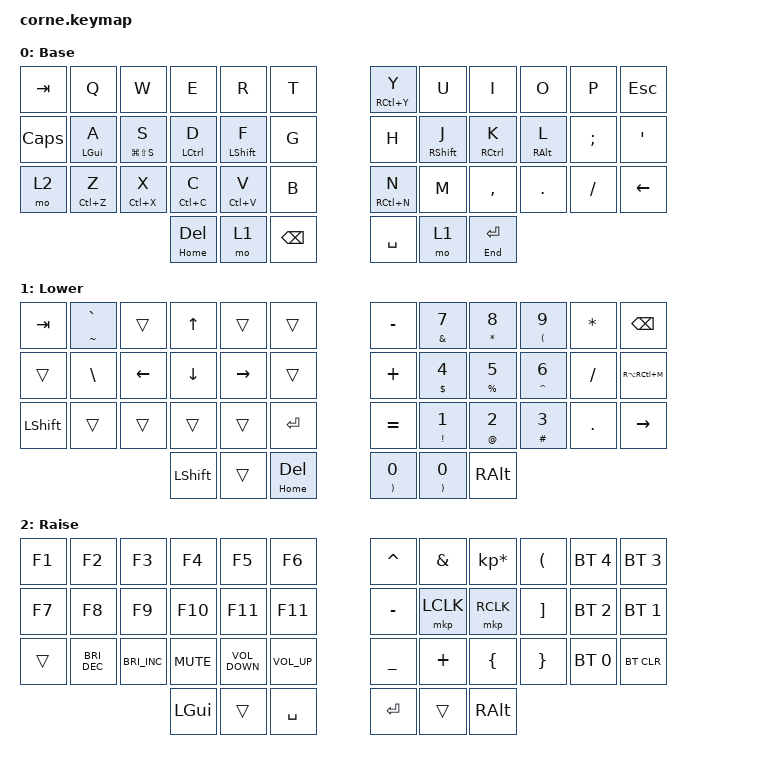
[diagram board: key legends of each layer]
/*
 * Copyright (c) 2020 The ZMK Contributors
 *
 * SPDX-License-Identifier: MIT
 */

#include <behaviors.dtsi>
#include <dt-bindings/zmk/bt.h>
#include <dt-bindings/zmk/keys.h>
#include <dt-bindings/zmk/pointing.h>

/ {
    behaviors {
        HR_Mod: HR_Mod {
            compatible = "zmk,behavior-hold-tap";
            label = "HR_MOD";
            bindings = <&kp>, <&kp>;

            #binding-cells = <2>;
            tapping-term-ms = <280>;
            quick-tap-ms = <175>;
            flavor = "tap-preferred";
            require-prior-idle-ms = <175>;
        };

        TD0: TD0 {
            compatible = "zmk,behavior-tap-dance";
            label = "TD0";
            #binding-cells = <0>;
            bindings = <&mkp RCLK>;
        };
    };

    keymap {
        compatible = "zmk,keymap";

        default_layer {
            // -----------------------------------------------------------------------------------------
            // |  TAB |  Q  |  W  |  E  |  R  |  T  |   |  Y  |  U   |  I  |  O  |  P  | BKSP |
            // | CTRL |  A  |  S  |  D  |  F  |  G  |   |  H  |  J   |  K  |  L  |  ;  |  '   |
            // | SHFT |  Z  |  X  |  C  |  V  |  B  |   |  N  |  M   |  ,  |  .  |  /  | ESC  |
            //                    | GUI | LWR | SPC |   | ENT | RSE  | ALT |

            display-name = "Base";
            bindings = <
&kp TAB   &kp Q               &kp W                &kp E                   &kp R                 &kp T            &HR_Mod RC(Y) Y  &kp U                  &kp I                    &kp O                &kp P     &kp ESCAPE
&kp CAPS  &HR_Mod LEFT_GUI A  &HR_Mod LG(LS(S)) S  &HR_Mod LEFT_CONTROL D  &HR_Mod LEFT_SHIFT F  &kp G            &kp H            &HR_Mod RIGHT_SHIFT J  &HR_Mod RIGHT_CONTROL K  &HR_Mod RIGHT_ALT L  &kp SEMI  &kp APOS
&mo 2     &HR_Mod LC(Z) Z     &HR_Mod LC(X) X      &HR_Mod LC(C) C         &HR_Mod LC(V) V       &kp B            &HR_Mod RC(N) N  &kp M                  &kp COMMA                &kp DOT              &kp FSLH  &kp LEFT_ARROW
                                                   &HR_Mod HOME DELETE     &mo 1                 &kp BACKSPACE    &kp SPACE        &mo 1                  &HR_Mod END ENTER
            >;
        };

        lower_layer {
            // -----------------------------------------------------------------------------------------
            // |  TAB |  1  |  2  |  3  |  4  |  5  |   |  6  |  7  |  8  |  9  |  0  | BKSP |
            // | BTCLR| BT1 | BT2 | BT3 | BT4 | BT5 |   | LFT | DWN |  UP | RGT |     |      |
            // | SHFT |     |     |     |     |     |   |     |     |     |     |     |      |
            //                    | GUI |     | SPC |   | ENT |     | ALT |

            display-name = "Lower";
            bindings = <
&kp TAB    &HR_Mod TILDE GRAVE  &trans    &kp UP_ARROW    &trans     &trans                 &kp MINUS                     &HR_Mod AMPERSAND N7   &HR_Mod STAR N8      &HR_Mod LPAR N9         &kp STAR    &kp BSPC
&trans     &kp BACKSLASH        &kp LEFT  &kp DOWN        &kp RIGHT  &trans                 &kp PLUS                      &HR_Mod DLLR NUMBER_4  &HR_Mod PRCNT N5     &HR_Mod CARET NUMBER_6  &kp SLASH   &kp RA(RC(M))
&kp LSHFT  &trans               &trans    &trans          &trans     &kp ENTER              &kp EQUAL                     &HR_Mod EXCL NUMBER_1  &HR_Mod AT NUMBER_2  &HR_Mod HASH NUMBER_3   &kp PERIOD  &kp RIGHT_ARROW
                                          &kp LEFT_SHIFT  &trans     &HR_Mod HOME DELETE    &HR_Mod RIGHT_PARENTHESIS N0  &HR_Mod RPAR N0        &kp RALT
            >;
        };

        raise_layer {
            // -----------------------------------------------------------------------------------------
            // |  TAB |  !  |  @  |  #  |  $  |  %  |   |  ^  |  &  |  *  |  (  |  )  | BKSP |
            // | CTRL |     |     |     |     |     |   |  -  |  =  |  [  |  ]  |  \  |  `   |
            // | SHFT |     |     |     |     |     |   |  _  |  +  |  {  |  }  | "|" |  ~   |
            //                    | GUI |     | SPC |   | ENT |     | ALT |

            display-name = "Raise";
            bindings = <
&kp F1  &kp F2         &kp F3                &kp F4      &kp F5             &kp F6             &kp CARET  &kp AMPS   &kp KP_MULTIPLY  &kp LPAR  &bt BT_SEL 4  &bt BT_SEL 3
&kp F7  &kp F8         &kp F9                &kp F10     &kp F11            &kp F11            &kp MINUS  &mkp LCLK  &mkp RCLK        &kp RBKT  &bt BT_SEL 2  &bt BT_SEL 1
&trans  &kp C_BRI_DEC  &kp C_BRIGHTNESS_INC  &kp C_MUTE  &kp C_VOLUME_DOWN  &kp C_VOLUME_UP    &kp UNDER  &kp PLUS   &kp LBRC         &kp RBRC  &bt BT_SEL 0  &bt BT_CLR
                                             &kp LGUI    &trans             &kp SPACE          &kp RET    &trans     &kp RALT
            >;
        };

        extra_1 { status = "reserved"; };

        extra_2 { status = "reserved"; };

        extra_3 { status = "reserved"; };
    };
};
